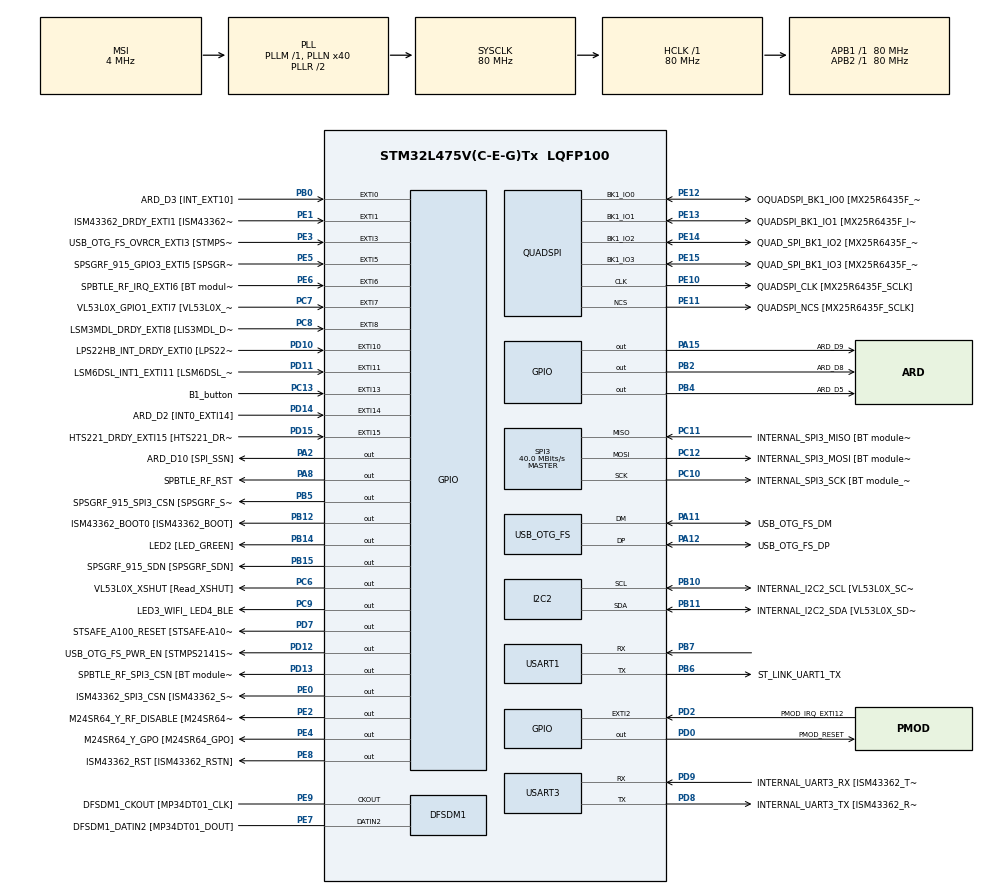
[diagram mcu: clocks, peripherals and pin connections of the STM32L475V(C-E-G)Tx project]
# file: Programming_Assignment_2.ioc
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FREERTOS.BinarySemaphores01=binSem,Dynamic,NULL
FREERTOS.Tasks01=pressureTask,0,128,StartPressureTask,Default,NULL,Dynamic,NULL,NULL;tempTask,0,128,StartTempTask,Default,NULL,Dynamic,NULL,NULL;buttonTask,1,128,StartButtonTask,Default,NULL,Dynamic,NULL,NULL
FREERTOS.configUSE_NEWLIB_REENTRANT=1
I2C2.Timing=0x10909CEC
Mcu.Family=STM32L4
Mcu.Name=STM32L475V(C-E-G)Tx
Mcu.Package=LQFP100
NVIC.EXTI15_10_IRQn=true\:5\:0\:false\:false\:true\:true\:true\:true\:true
NVIC.EXTI9_5_IRQn=true\:5\:0\:false\:false\:true\:true\:true\:true\:true
NVIC.PriorityGroup=NVIC_PRIORITYGROUP_4
NVIC.TIM1_UP_TIM16_IRQn=true\:15\:0\:false\:false\:true\:false\:false\:true\:true
NVIC.TimeBase=TIM1_UP_TIM16_IRQn
NVIC.TimeBaseIP=TIM1
PA0.GPIO_Label=ARD_D1 [UART4_TX]
PA0.Signal=UART4_TX
PA1.GPIO_Label=ARD_D0 [UART4_RX]
PA1.Signal=UART4_RX
PA10.GPIO_Label=USB_OTG_FS_ID
PA10.Signal=USB_OTG_FS_ID
PA11.GPIO_Label=USB_OTG_FS_DM
PA11.Mode=Device_Only
PA11.Signal=USB_OTG_FS_DM
PA12.GPIO_Label=USB_OTG_FS_DP
PA12.Mode=Device_Only
PA12.Signal=USB_OTG_FS_DP
PA13\ (JTMS-SWDIO).GPIO_Label=SYS_JTMS_SWDIO
PA13\ (JTMS-SWDIO).Mode=Serial_Wire
PA13\ (JTMS-SWDIO).Signal=SYS_JTMS-SWDIO
PA14\ (JTCK-SWCLK).GPIO_Label=SYS_JTCK_SWCLK
PA14\ (JTCK-SWCLK).Mode=Serial_Wire
PA14\ (JTCK-SWCLK).Signal=SYS_JTCK-SWCLK
PA15\ (JTDI).GPIO_Label=ARD_D9
PA15\ (JTDI).Signal=GPIO_Output
PA2.GPIO_Label=ARD_D10 [SPI_SSN]
PA2.Signal=GPIO_Output
PA3.GPIO_Label=ARD_D4
PA3.Signal=S_TIM2_CH4
PA4.GPIO_Label=ARD_D7
PA4.Signal=ADCx_IN9
PA5.GPIO_Label=ARD_D13 [SPI1_SCK]
PA5.Signal=SPI1_SCK
PA6.GPIO_Label=ARD_D12 [SPI1_MISO]
PA6.Signal=SPI1_MISO
PA7.GPIO_Label=ARD_D11 [SPI1_MOSI]
PA7.Signal=SPI1_MOSI
PA8.GPIO_Label=SPBTLE_RF_RST
PA8.Signal=GPIO_Output
PA9.GPIO_Label=USB_OTG_FS_VBUS [STMPS2141STR_OUT]
PA9.Signal=USB_OTG_FS_VBUS
PB0.GPIO_Label=ARD_D3 [INT_EXT10]
PB0.Signal=GPXTI0
PB1.GPIO_Label=ARD_D6 [ADC1_IN6]
PB1.Signal=ADCx_IN16
PB10.GPIO_Label=INTERNAL_I2C2_SCL [VL53L0X_SCL]
PB10.GPIO_Pu=GPIO_PULLUP
PB10.Mode=I2C
PB10.Signal=I2C2_SCL
PB11.GPIO_Label=INTERNAL_I2C2_SDA [VL53L0X_SDA]
PB11.GPIO_Pu=GPIO_PULLUP
PB11.Mode=I2C
PB11.Signal=I2C2_SDA
PB12.GPIO_Label=ISM43362_BOOT0 [ISM43362_BOOT]
PB12.Signal=GPIO_Output
PB14.GPIO_Label=LED2 [LED_GREEN]
PB14.Signal=GPIO_Output
PB15.GPIO_Label=SPSGRF_915_SDN [SPSGRF_SDN]
PB15.Signal=GPIO_Output
PB2.GPIO_Label=ARD_D8
PB2.Signal=GPIO_Output
PB3\ (JTDO-TRACESWO).GPIO_Label=SYS_JTD0_SWO
PB3\ (JTDO-TRACESWO).Signal=SYS_JTDO-SWO
PB4\ (NJTRST).GPIO_Label=ARD_D5
PB4\ (NJTRST).Signal=GPIO_Output
PB5.GPIO_Label=SPSGRF_915_SPI3_CSN [SPSGRF_SPI_CS]
PB5.PinState=GPIO_PIN_SET
PB5.Signal=GPIO_Output
PB6.GPIO_Label=ST_LINK_UART1_TX
PB6.Mode=Asynchronous
PB6.Signal=USART1_TX
PB7.Mode=Asynchronous
PB7.Signal=USART1_RX
PB8.GPIO_Label=ARD_D15 [I2C1_SCL]
PB8.Signal=I2C1_SCL
PB9.GPIO_Label=ARD_D14 [I2C1_SDA]
PB9.Signal=I2C1_SDA
PC0.GPIO_Label=ARD_A5 [ADC]
PC0.Signal=ADCx_IN1
PC1.GPIO_Label=ARD_A4 [ADC]
PC1.Signal=ADCx_IN2
PC10.GPIO_Label=INTERNAL_SPI3_SCK [BT module_SPI_SCLK] [ISM43362_SCK]
PC10.Mode=Full_Duplex_Master
PC10.Signal=SPI3_SCK
PC11.GPIO_Label=INTERNAL_SPI3_MISO [BT module_SPI_MISO] [ISM43362_MISO]
PC11.Mode=Full_Duplex_Master
PC11.Signal=SPI3_MISO
PC12.GPIO_Label=INTERNAL_SPI3_MOSI [BT module_SPI_MOSI] [ISM43362_MOSI]
PC12.Mode=Full_Duplex_Master
PC12.Signal=SPI3_MOSI
PC13.GPIO_Label=B1_button
PC13.Signal=GPXTI13
PC14-OSC32_IN\ (PC14).Mode=LSE-External-Oscillator
PC14-OSC32_IN\ (PC14).Signal=RCC_OSC32_IN
PC15-OSC32_OUT\ (PC15).Mode=LSE-External-Oscillator
PC15-OSC32_OUT\ (PC15).Signal=RCC_OSC32_OUT
PC2.GPIO_Label=ARD_A3 [ADC]
PC2.Signal=ADCx_IN3
PC3.GPIO_Label=ARD_A2 [ADC]
PC3.Signal=ADCx_IN4
PC4.GPIO_Label=ARD_A1 [ADC]
PC4.Signal=ADCx_IN13
PC5.GPIO_Label=ARD_A0 [ADC]
PC5.Signal=ADCx_IN14
PC6.GPIO_Label=VL53L0X_XSHUT [Read_XSHUT]
PC6.Signal=GPIO_Output
PC7.GPIO_Label=VL53L0X_GPIO1_EXTI7 [VL53L0X_GPIO1]
PC7.Signal=GPXTI7
PC8.GPIO_Label=LSM3MDL_DRDY_EXTI8 [LIS3MDL_DRDY]
PC8.Signal=GPXTI8
PC9.GPIO_Label=LED3_WIFI_ LED4_BLE
PC9.Signal=GPIO_Output
PD0.GPIO_Label=PMOD_RESET
PD0.Signal=GPIO_Output
PD1.GPIO_Label=PMOD_SPI2_SCK
PD1.Signal=SPI2_SCK
PD10.GPIO_Label=LPS22HB_INT_DRDY_EXTI0 [LPS22HB_INT_DRDY] 
PD10.Signal=GPXTI10
PD11.GPIO_Label=LSM6DSL_INT1_EXTI11 [LSM6DSL_INT1]
PD11.Signal=GPXTI11
PD12.GPIO_Label=USB_OTG_FS_PWR_EN [STMPS2141STR_EN]
PD12.Signal=GPIO_Output
PD13.GPIO_Label=SPBTLE_RF_SPI3_CSN [BT module_SPI_CS]
PD13.PinState=GPIO_PIN_SET
PD13.Signal=GPIO_Output
PD14.GPIO_Label=ARD_D2 [INT0_EXTI14]
PD14.Signal=GPXTI14
PD15.GPIO_Label=HTS221_DRDY_EXTI15 [HTS221_DRDY]
PD15.Signal=GPXTI15
PD2.GPIO_Label=PMOD_IRQ_EXTI12
PD2.Signal=GPXTI2
PD3.GPIO_Label=PMOD_UART2_CTS
PD3.Signal=USART2_CTS
PD4.GPIO_Label=PMOD_UART2_RTS
PD4.Signal=USART2_RTS
PD5.GPIO_Label=PMOD_UART2_TX
PD5.Signal=USART2_TX
PD6.GPIO_Label=PMOD_UART2_RX
PD6.Signal=USART2_RX
PD7.GPIO_Label=STSAFE_A100_RESET [STSAFE-A100_RESET]
PD7.Signal=GPIO_Output
PD8.GPIO_Label=INTERNAL_UART3_TX [ISM43362_RX]
PD8.Mode=Asynchronous
PD8.Signal=USART3_TX
PD9.GPIO_Label=INTERNAL_UART3_RX [ISM43362_TX]
PD9.Mode=Asynchronous
PD9.Signal=USART3_RX
PE0.GPIO_Label=ISM43362_SPI3_CSN [ISM43362_SSN]
PE0.PinState=GPIO_PIN_SET
PE0.Signal=GPIO_Output
PE1.GPIO_Label=ISM43362_DRDY_EXTI1 [ISM43362_DATARDY]
PE1.Signal=GPXTI1
PE10.GPIO_Label=QUADSPI_CLK [MX25R6435F_SCLK]
PE10.Mode=Single Bank
PE10.Signal=QUADSPI_CLK
PE11.GPIO_Label=QUADSPI_NCS [MX25R6435F_SCLK]
PE11.Mode=Single Bank
PE11.Signal=QUADSPI_NCS
PE12.GPIO_Label=OQUADSPI_BK1_IO0 [MX25R6435F_IO0]
PE12.Mode=Single Bank
PE12.Signal=QUADSPI_BK1_IO0
PE13.GPIO_Label=QUADSPI_BK1_IO1 [MX25R6435F_IO1]
PE13.Mode=Single Bank
PE13.Signal=QUADSPI_BK1_IO1
PE14.GPIO_Label=QUAD_SPI_BK1_IO2 [MX25R6435F_IO2]
PE14.Mode=Single Bank
PE14.Signal=QUADSPI_BK1_IO2
PE15.GPIO_Label=QUAD_SPI_BK1_IO3 [MX25R6435F_IO3]
PE15.Mode=Single Bank
PE15.Signal=QUADSPI_BK1_IO3
PE2.GPIO_Label=M24SR64_Y_RF_DISABLE [M24SR64_RFDIS]
PE2.Signal=GPIO_Output
PE3.GPIO_Label=USB_OTG_FS_OVRCR_EXTI3 [STMPS2141STR_FAULT]
PE3.Signal=GPXTI3
PE4.GPIO_Label=M24SR64_Y_GPO [M24SR64_GPO]
PE4.Signal=GPIO_Output
PE5.GPIO_Label=SPSGRF_915_GPIO3_EXTI5 [SPSGRF_GPIO_3]
PE5.Signal=GPXTI5
PE6.GPIO_Label=SPBTLE_RF_IRQ_EXTI6 [BT module_SPI_IRQ]
PE6.Signal=GPXTI6
PE7.GPIO_Label=DFSDM1_DATIN2 [MP34DT01_DOUT]
PE7.Signal=S_DATAIN2DFSDM1
PE8.GPIO_Label=ISM43362_RST [ISM43362_RSTN]
PE8.Signal=GPIO_Output
PE9.GPIO_Label=DFSDM1_CKOUT [MP34DT01_CLK]
PE9.Signal=S_CKOUTDFSDM1
ProjectManager.HeapSize=0x200
ProjectManager.StackSize=0x400
ProjectManager.TargetToolchain=STM32CubeIDE
QUADSPI.ClockPrescaler=2
QUADSPI.FifoThreshold=4
QUADSPI.FlashSize=23
QUADSPI.SampleShifting=QSPI_SAMPLE_SHIFTING_HALFCYCLE
RCC.ADCFreq_Value=48000000
RCC.AHBFreq_Value=80000000
RCC.APB1Freq_Value=80000000
RCC.APB1TimFreq_Value=80000000
RCC.APB2Freq_Value=80000000
RCC.APB2TimFreq_Value=80000000
RCC.CortexFreq_Value=80000000
RCC.HCLKFreq_Value=80000000
RCC.HSE_VALUE=8000000
RCC.HSI_VALUE=16000000
RCC.MSI_VALUE=4000000
RCC.PLLN=40
RCC.PLLSAI1N=24
RCC.SYSCLKFreq_VALUE=80000000
RCC.SYSCLKSource=RCC_SYSCLKSOURCE_PLLCLK
RCC.USBFreq_Value=48000000
RCC.VCOOutputFreq_Value=160000000
SH.ADCx_IN1.0=ADC1_IN1
SH.ADCx_IN13.0=ADC1_IN13
SH.ADCx_IN14.0=ADC1_IN14
SH.ADCx_IN16.0=ADC1_IN16
SH.ADCx_IN2.0=ADC1_IN2
SH.ADCx_IN3.0=ADC1_IN3
SH.ADCx_IN4.0=ADC1_IN4
SH.ADCx_IN9.0=ADC1_IN9
SH.S_CKOUTDFSDM1.0=DFSDM1_CKOUT,CKOUT
SH.S_CKOUTDFSDM1.1=DFSDM1_CKOUT,PDM_SPI_Input_from_ch12_and_Internal_Clock
SH.S_DATAIN2DFSDM1.0=DFSDM1_DATIN2,PDM_SPI_Input_from_ch12_and_Internal_Clock
SH.S_TIM2_CH4.0=TIM2_CH4
SPI3.CalculateBaudRate=40.0 MBits/s
SPI3.Direction=SPI_DIRECTION_2LINES
SPI3.Mode=SPI_MODE_MASTER
SPI3.VirtualType=VM_MASTER
USART1.VirtualMode-Asynchronous=VM_ASYNC
USART3.VirtualMode-Asynchronous=VM_ASYNC
USB_OTG_FS.VirtualMode=Device_Only
VP_FREERTOS_VS_CMSIS_V1.Mode=CMSIS_V1
VP_SYS_VS_tim1.Mode=TIM1
board=B-L475E-IOT01A2

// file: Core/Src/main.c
/* USER CODE BEGIN Header */
/**
  ******************************************************************************
  * @file           : main.c
  * @brief          : Main program body
  ******************************************************************************
  * @attention
  *
  * Copyright (c) 2023 STMicroelectronics.
  * All rights reserved.
  *
  * This software is licensed under terms that can be found in the LICENSE file
  * in the root directory of this software component.
  * If no LICENSE file comes with this software, it is provided AS-IS.
  *
  ******************************************************************************
  */
/* USER CODE END Header */
#include "main.h"
#include "cmsis_os.h"

/* USER CODE BEGIN Includes */
#include "stm32l475e_iot01.h"
#include "stm32l475e_iot01_tsensor.h"
#include "stm32l475e_iot01_psensor.h"
#include <math.h>
#include <stdio.h>

/* Private includes ----------------------------------------------------------*/
/* USER CODE BEGIN Includes */

/* USER CODE END Includes */

DFSDM_Channel_HandleTypeDef hdfsdm1_channel1;

I2C_HandleTypeDef hi2c2;

QSPI_HandleTypeDef hqspi;

SPI_HandleTypeDef hspi3;

UART_HandleTypeDef huart1;
UART_HandleTypeDef huart3;

PCD_HandleTypeDef hpcd_USB_OTG_FS;

osThreadId pressureTaskHandle;
osThreadId tempTaskHandle;
osThreadId buttonTaskHandle;
osSemaphoreId binSemHandle;
/* USER CODE BEGIN PV */
int hits = 0;
float temp_value = 0;
char str_tmp[100] = "";
uint8_t mag1[] = "****** Temperature values measurement ******\n\n\r";
uint8_t mag2[] = "=====> Initialize Temperature sensor HTS221 \r\n";
uint8_t mag3[] = "=====> Temperature sensor HTS221 initialized \r\n";

float pres_value = 0;
char str_pres[100] = "";
uint8_t mag1_1[] = "****** Pressure values measurement ******\n\n\r";
uint8_t mag2_2[] = "=====> Initialize Pressure sensor lps22hb \r\n";
uint8_t mag3_3[] = "=====> Pressure sensor lps22hb initialized \r\n";

/* USER CODE END PV */

void SystemClock_Config(void);
static void MX_GPIO_Init(void);
static void MX_DFSDM1_Init(void);
static void MX_I2C2_Init(void);
static void MX_QUADSPI_Init(void);
static void MX_SPI3_Init(void);
static void MX_USART1_UART_Init(void);
static void MX_USART3_UART_Init(void);
static void MX_USB_OTG_FS_PCD_Init(void);
void StartPressureTask(void const * argument);
void StartTempTask(void const * argument);
void StartButtonTask(void const * argument);

int main(void)
{

  /* MCU Configuration--------------------------------------------------------*/

  /* Reset of all peripherals, Initializes the Flash interface and the Systick. */
  HAL_Init();

  /* Configure the system clock */
  SystemClock_Config();

  /* Initialize all configured peripherals */
  MX_GPIO_Init();
  MX_DFSDM1_Init();
  MX_I2C2_Init();
  MX_QUADSPI_Init();
  MX_SPI3_Init();
  MX_USART1_UART_Init();
  MX_USART3_UART_Init();
  MX_USB_OTG_FS_PCD_Init();
  /* USER CODE BEGIN 2 */
  HAL_UART_Transmit(&huart1,mag1,sizeof(mag1),1000);
  HAL_UART_Transmit(&huart1,mag2,sizeof(mag2),1000);
  BSP_TSENSOR_Init();
  HAL_UART_Transmit(&huart1,mag3,sizeof(mag3),1000);

  HAL_UART_Transmit(&huart1,mag1_1,sizeof(mag1_1),1000);
  HAL_UART_Transmit(&huart1,mag2_2,sizeof(mag2_2),1000);
  BSP_PSENSOR_Init();
  HAL_UART_Transmit(&huart1,mag3_3,sizeof(mag3_3),1000);
  /* USER CODE END 2 */

  /* Create the semaphores(s) */
  /* definition and creation of binSem */
  osSemaphoreDef(binSem);
  binSemHandle = osSemaphoreCreate(osSemaphore(binSem), 1);

  /* Create the thread(s) */
  /* definition and creation of pressureTask */
  osThreadDef(pressureTask, StartPressureTask, osPriorityNormal, 0, 128);
  pressureTaskHandle = osThreadCreate(osThread(pressureTask), NULL);

  /* definition and creation of tempTask */
  osThreadDef(tempTask, StartTempTask, osPriorityNormal, 0, 128);
  tempTaskHandle = osThreadCreate(osThread(tempTask), NULL);

  /* definition and creation of buttonTask */
  osThreadDef(buttonTask, StartButtonTask, osPriorityAboveNormal, 0, 128);
  buttonTaskHandle = osThreadCreate(osThread(buttonTask), NULL);

  /* Start scheduler */
  osKernelStart();

  /* We should never get here as control is now taken by the scheduler */
  /* Infinite loop */
  while (1)
  {

  }
}

void SystemClock_Config(void)
{
  RCC_OscInitTypeDef RCC_OscInitStruct = {0};
  RCC_ClkInitTypeDef RCC_ClkInitStruct = {0};

  /** Configure the main internal regulator output voltage
  */
  if (HAL_PWREx_ControlVoltageScaling(PWR_REGULATOR_VOLTAGE_SCALE1) != HAL_OK)
  {
    Error_Handler();
  }

  /** Configure LSE Drive Capability
  */
  HAL_PWR_EnableBkUpAccess();
  __HAL_RCC_LSEDRIVE_CONFIG(RCC_LSEDRIVE_LOW);

  /** Initializes the RCC Oscillators according to the specified parameters
  * in the RCC_OscInitTypeDef structure.
  */
  RCC_OscInitStruct.OscillatorType = RCC_OSCILLATORTYPE_LSE|RCC_OSCILLATORTYPE_MSI;
  RCC_OscInitStruct.LSEState = RCC_LSE_ON;
  RCC_OscInitStruct.MSIState = RCC_MSI_ON;
  RCC_OscInitStruct.MSICalibrationValue = 0;
  RCC_OscInitStruct.MSIClockRange = RCC_MSIRANGE_6;
  RCC_OscInitStruct.PLL.PLLState = RCC_PLL_ON;
  RCC_OscInitStruct.PLL.PLLSource = RCC_PLLSOURCE_MSI;
  RCC_OscInitStruct.PLL.PLLM = 1;
  RCC_OscInitStruct.PLL.PLLN = 40;
  RCC_OscInitStruct.PLL.PLLP = RCC_PLLP_DIV7;
  RCC_OscInitStruct.PLL.PLLQ = RCC_PLLQ_DIV2;
  RCC_OscInitStruct.PLL.PLLR = RCC_PLLR_DIV2;
  if (HAL_RCC_OscConfig(&RCC_OscInitStruct) != HAL_OK)
  {
    Error_Handler();
  }

  /** Initializes the CPU, AHB and APB buses clocks
  */
  RCC_ClkInitStruct.ClockType = RCC_CLOCKTYPE_HCLK|RCC_CLOCKTYPE_SYSCLK
                              |RCC_CLOCKTYPE_PCLK1|RCC_CLOCKTYPE_PCLK2;
  RCC_ClkInitStruct.SYSCLKSource = RCC_SYSCLKSOURCE_PLLCLK;
  RCC_ClkInitStruct.AHBCLKDivider = RCC_SYSCLK_DIV1;
  RCC_ClkInitStruct.APB1CLKDivider = RCC_HCLK_DIV1;
  RCC_ClkInitStruct.APB2CLKDivider = RCC_HCLK_DIV1;

  if (HAL_RCC_ClockConfig(&RCC_ClkInitStruct, FLASH_LATENCY_4) != HAL_OK)
  {
    Error_Handler();
  }

  /** Enable MSI Auto calibration
  */
  HAL_RCCEx_EnableMSIPLLMode();
}

static void MX_DFSDM1_Init(void)
{

  hdfsdm1_channel1.Instance = DFSDM1_Channel1;
  hdfsdm1_channel1.Init.OutputClock.Activation = ENABLE;
  hdfsdm1_channel1.Init.OutputClock.Selection = DFSDM_CHANNEL_OUTPUT_CLOCK_SYSTEM;
  hdfsdm1_channel1.Init.OutputClock.Divider = 2;
  hdfsdm1_channel1.Init.Input.Multiplexer = DFSDM_CHANNEL_EXTERNAL_INPUTS;
  hdfsdm1_channel1.Init.Input.DataPacking = DFSDM_CHANNEL_STANDARD_MODE;
  hdfsdm1_channel1.Init.Input.Pins = DFSDM_CHANNEL_FOLLOWING_CHANNEL_PINS;
  hdfsdm1_channel1.Init.SerialInterface.Type = DFSDM_CHANNEL_SPI_RISING;
  hdfsdm1_channel1.Init.SerialInterface.SpiClock = DFSDM_CHANNEL_SPI_CLOCK_INTERNAL;
  hdfsdm1_channel1.Init.Awd.FilterOrder = DFSDM_CHANNEL_FASTSINC_ORDER;
  hdfsdm1_channel1.Init.Awd.Oversampling = 1;
  hdfsdm1_channel1.Init.Offset = 0;
  hdfsdm1_channel1.Init.RightBitShift = 0x00;
  if (HAL_DFSDM_ChannelInit(&hdfsdm1_channel1) != HAL_OK)
  {
    Error_Handler();
  }

}

static void MX_I2C2_Init(void)
{

  hi2c2.Instance = I2C2;
  hi2c2.Init.Timing = 0x10909CEC;
  hi2c2.Init.OwnAddress1 = 0;
  hi2c2.Init.AddressingMode = I2C_ADDRESSINGMODE_7BIT;
  hi2c2.Init.DualAddressMode = I2C_DUALADDRESS_DISABLE;
  hi2c2.Init.OwnAddress2 = 0;
  hi2c2.Init.OwnAddress2Masks = I2C_OA2_NOMASK;
  hi2c2.Init.GeneralCallMode = I2C_GENERALCALL_DISABLE;
  hi2c2.Init.NoStretchMode = I2C_NOSTRETCH_DISABLE;
  if (HAL_I2C_Init(&hi2c2) != HAL_OK)
  {
    Error_Handler();
  }

  /** Configure Analogue filter
  */
  if (HAL_I2CEx_ConfigAnalogFilter(&hi2c2, I2C_ANALOGFILTER_ENABLE) != HAL_OK)
  {
    Error_Handler();
  }

  /** Configure Digital filter
  */
  if (HAL_I2CEx_ConfigDigitalFilter(&hi2c2, 0) != HAL_OK)
  {
    Error_Handler();
  }

}

static void MX_QUADSPI_Init(void)
{

  /* QUADSPI parameter configuration*/
  hqspi.Instance = QUADSPI;
  hqspi.Init.ClockPrescaler = 2;
  hqspi.Init.FifoThreshold = 4;
  hqspi.Init.SampleShifting = QSPI_SAMPLE_SHIFTING_HALFCYCLE;
  hqspi.Init.FlashSize = 23;
  hqspi.Init.ChipSelectHighTime = QSPI_CS_HIGH_TIME_1_CYCLE;
  hqspi.Init.ClockMode = QSPI_CLOCK_MODE_0;
  if (HAL_QSPI_Init(&hqspi) != HAL_OK)
  {
    Error_Handler();
  }

}

static void MX_SPI3_Init(void)
{

  /* SPI3 parameter configuration*/
  hspi3.Instance = SPI3;
  hspi3.Init.Mode = SPI_MODE_MASTER;
  hspi3.Init.Direction = SPI_DIRECTION_2LINES;
  hspi3.Init.DataSize = SPI_DATASIZE_4BIT;
  hspi3.Init.CLKPolarity = SPI_POLARITY_LOW;
  hspi3.Init.CLKPhase = SPI_PHASE_1EDGE;
  hspi3.Init.NSS = SPI_NSS_SOFT;
  hspi3.Init.BaudRatePrescaler = SPI_BAUDRATEPRESCALER_2;
  hspi3.Init.FirstBit = SPI_FIRSTBIT_MSB;
  hspi3.Init.TIMode = SPI_TIMODE_DISABLE;
  hspi3.Init.CRCCalculation = SPI_CRCCALCULATION_DISABLE;
  hspi3.Init.CRCPolynomial = 7;
  hspi3.Init.CRCLength = SPI_CRC_LENGTH_DATASIZE;
  hspi3.Init.NSSPMode = SPI_NSS_PULSE_ENABLE;
  if (HAL_SPI_Init(&hspi3) != HAL_OK)
  {
    Error_Handler();
  }

}

static void MX_USART1_UART_Init(void)
{

  huart1.Instance = USART1;
  huart1.Init.BaudRate = 115200;
  huart1.Init.WordLength = UART_WORDLENGTH_8B;
  huart1.Init.StopBits = UART_STOPBITS_1;
  huart1.Init.Parity = UART_PARITY_NONE;
  huart1.Init.Mode = UART_MODE_TX_RX;
  huart1.Init.HwFlowCtl = UART_HWCONTROL_NONE;
  huart1.Init.OverSampling = UART_OVERSAMPLING_16;
  huart1.Init.OneBitSampling = UART_ONE_BIT_SAMPLE_DISABLE;
  huart1.AdvancedInit.AdvFeatureInit = UART_ADVFEATURE_NO_INIT;
  if (HAL_UART_Init(&huart1) != HAL_OK)
  {
    Error_Handler();
  }

}

static void MX_USART3_UART_Init(void)
{

  huart3.Instance = USART3;
  huart3.Init.BaudRate = 115200;
  huart3.Init.WordLength = UART_WORDLENGTH_8B;
  huart3.Init.StopBits = UART_STOPBITS_1;
  huart3.Init.Parity = UART_PARITY_NONE;
  huart3.Init.Mode = UART_MODE_TX_RX;
  huart3.Init.HwFlowCtl = UART_HWCONTROL_NONE;
  huart3.Init.OverSampling = UART_OVERSAMPLING_16;
  huart3.Init.OneBitSampling = UART_ONE_BIT_SAMPLE_DISABLE;
  huart3.AdvancedInit.AdvFeatureInit = UART_ADVFEATURE_NO_INIT;
  if (HAL_UART_Init(&huart3) != HAL_OK)
  {
    Error_Handler();
  }

}

static void MX_USB_OTG_FS_PCD_Init(void)
{

  hpcd_USB_OTG_FS.Instance = USB_OTG_FS;
  hpcd_USB_OTG_FS.Init.dev_endpoints = 6;
  hpcd_USB_OTG_FS.Init.speed = PCD_SPEED_FULL;
  hpcd_USB_OTG_FS.Init.phy_itface = PCD_PHY_EMBEDDED;
  hpcd_USB_OTG_FS.Init.Sof_enable = DISABLE;
  hpcd_USB_OTG_FS.Init.low_power_enable = DISABLE;
  hpcd_USB_OTG_FS.Init.lpm_enable = DISABLE;
  hpcd_USB_OTG_FS.Init.battery_charging_enable = DISABLE;
  hpcd_USB_OTG_FS.Init.use_dedicated_ep1 = DISABLE;
  hpcd_USB_OTG_FS.Init.vbus_sensing_enable = DISABLE;
  if (HAL_PCD_Init(&hpcd_USB_OTG_FS) != HAL_OK)
  {
    Error_Handler();
  }

}

static void MX_GPIO_Init(void)
{
  GPIO_InitTypeDef GPIO_InitStruct = {0};

  /* GPIO Ports Clock Enable */
  __HAL_RCC_GPIOE_CLK_ENABLE();
  __HAL_RCC_GPIOC_CLK_ENABLE();
  __HAL_RCC_GPIOA_CLK_ENABLE();
  __HAL_RCC_GPIOB_CLK_ENABLE();
  __HAL_RCC_GPIOD_CLK_ENABLE();

  /*Configure GPIO pin Output Level */
  HAL_GPIO_WritePin(GPIOE, M24SR64_Y_RF_DISABLE_Pin|M24SR64_Y_GPO_Pin|ISM43362_RST_Pin, GPIO_PIN_RESET);

  /*Configure GPIO pin Output Level */
  HAL_GPIO_WritePin(GPIOA, ARD_D10_Pin|SPBTLE_RF_RST_Pin|ARD_D9_Pin, GPIO_PIN_RESET);

  /*Configure GPIO pin Output Level */
  HAL_GPIO_WritePin(GPIOB, ARD_D8_Pin|ISM43362_BOOT0_Pin|LED2_Pin|SPSGRF_915_SDN_Pin
                          |ARD_D5_Pin, GPIO_PIN_RESET);

  /*Configure GPIO pin Output Level */
  HAL_GPIO_WritePin(GPIOD, USB_OTG_FS_PWR_EN_Pin|PMOD_RESET_Pin|STSAFE_A100_RESET_Pin, GPIO_PIN_RESET);

  /*Configure GPIO pin Output Level */
  HAL_GPIO_WritePin(SPBTLE_RF_SPI3_CSN_GPIO_Port, SPBTLE_RF_SPI3_CSN_Pin, GPIO_PIN_SET);

  /*Configure GPIO pin Output Level */
  HAL_GPIO_WritePin(GPIOC, VL53L0X_XSHUT_Pin|LED3_WIFI__LED4_BLE_Pin, GPIO_PIN_RESET);

  /*Configure GPIO pin Output Level */
  HAL_GPIO_WritePin(SPSGRF_915_SPI3_CSN_GPIO_Port, SPSGRF_915_SPI3_CSN_Pin, GPIO_PIN_SET);

  /*Configure GPIO pin Output Level */
  HAL_GPIO_WritePin(ISM43362_SPI3_CSN_GPIO_Port, ISM43362_SPI3_CSN_Pin, GPIO_PIN_SET);

  /*Configure GPIO pins : M24SR64_Y_RF_DISABLE_Pin M24SR64_Y_GPO_Pin ISM43362_RST_Pin ISM43362_SPI3_CSN_Pin */
  GPIO_InitStruct.Pin = M24SR64_Y_RF_DISABLE_Pin|M24SR64_Y_GPO_Pin|ISM43362_RST_Pin|ISM43362_SPI3_CSN_Pin;
  GPIO_InitStruct.Mode = GPIO_MODE_OUTPUT_PP;
  GPIO_InitStruct.Pull = GPIO_NOPULL;
  GPIO_InitStruct.Speed = GPIO_SPEED_FREQ_LOW;
  HAL_GPIO_Init(GPIOE, &GPIO_InitStruct);

  /*Configure GPIO pins : USB_OTG_FS_OVRCR_EXTI3_Pin SPSGRF_915_GPIO3_EXTI5_Pin SPBTLE_RF_IRQ_EXTI6_Pin ISM43362_DRDY_EXTI1_Pin */
  GPIO_InitStruct.Pin = USB_OTG_FS_OVRCR_EXTI3_Pin|SPSGRF_915_GPIO3_EXTI5_Pin|SPBTLE_RF_IRQ_EXTI6_Pin|ISM43362_DRDY_EXTI1_Pin;
  GPIO_InitStruct.Mode = GPIO_MODE_IT_RISING;
  GPIO_InitStruct.Pull = GPIO_NOPULL;
  HAL_GPIO_Init(GPIOE, &GPIO_InitStruct);

  /*Configure GPIO pins : B1_button_Pin VL53L0X_GPIO1_EXTI7_Pin LSM3MDL_DRDY_EXTI8_Pin */
  GPIO_InitStruct.Pin = B1_button_Pin|VL53L0X_GPIO1_EXTI7_Pin|LSM3MDL_DRDY_EXTI8_Pin;
  GPIO_InitStruct.Mode = GPIO_MODE_IT_RISING;
  GPIO_InitStruct.Pull = GPIO_NOPULL;
  HAL_GPIO_Init(GPIOC, &GPIO_InitStruct);

  /*Configure GPIO pins : ARD_A5_Pin ARD_A4_Pin ARD_A3_Pin ARD_A2_Pin
                           ARD_A1_Pin ARD_A0_Pin */
  GPIO_InitStruct.Pin = ARD_A5_Pin|ARD_A4_Pin|ARD_A3_Pin|ARD_A2_Pin
                          |ARD_A1_Pin|ARD_A0_Pin;
  GPIO_InitStruct.Mode = GPIO_MODE_ANALOG_ADC_CONTROL;
  GPIO_InitStruct.Pull = GPIO_NOPULL;
  HAL_GPIO_Init(GPIOC, &GPIO_InitStruct);

  /*Configure GPIO pins : ARD_D1_Pin ARD_D0_Pin */
  GPIO_InitStruct.Pin = ARD_D1_Pin|ARD_D0_Pin;
  GPIO_InitStruct.Mode = GPIO_MODE_AF_PP;
  GPIO_InitStruct.Pull = GPIO_NOPULL;
  GPIO_InitStruct.Speed = GPIO_SPEED_FREQ_VERY_HIGH;
  GPIO_InitStruct.Alternate = GPIO_AF8_UART4;
  HAL_GPIO_Init(GPIOA, &GPIO_InitStruct);

  /*Configure GPIO pins : ARD_D10_Pin SPBTLE_RF_RST_Pin ARD_D9_Pin */
  GPIO_InitStruct.Pin = ARD_D10_Pin|SPBTLE_RF_RST_Pin|ARD_D9_Pin;
  GPIO_InitStruct.Mode = GPIO_MODE_OUTPUT_PP;
  GPIO_InitStruct.Pull = GPIO_NOPULL;
  GPIO_InitStruct.Speed = GPIO_SPEED_FREQ_LOW;
  HAL_GPIO_Init(GPIOA, &GPIO_InitStruct);

  /*Configure GPIO pin : ARD_D4_Pin */
  GPIO_InitStruct.Pin = ARD_D4_Pin;
  GPIO_InitStruct.Mode = GPIO_MODE_AF_PP;
  GPIO_InitStruct.Pull = GPIO_NOPULL;
  GPIO_InitStruct.Speed = GPIO_SPEED_FREQ_LOW;
  GPIO_InitStruct.Alternate = GPIO_AF1_TIM2;
  HAL_GPIO_Init(ARD_D4_GPIO_Port, &GPIO_InitStruct);

  /*Configure GPIO pin : ARD_D7_Pin */
  GPIO_InitStruct.Pin = ARD_D7_Pin;
  GPIO_InitStruct.Mode = GPIO_MODE_ANALOG_ADC_CONTROL;
  GPIO_InitStruct.Pull = GPIO_NOPULL;
  HAL_GPIO_Init(ARD_D7_GPIO_Port, &GPIO_InitStruct);

  /*Configure GPIO pins : ARD_D13_Pin ARD_D12_Pin ARD_D11_Pin */
  GPIO_InitStruct.Pin = ARD_D13_Pin|ARD_D12_Pin|ARD_D11_Pin;
  GPIO_InitStruct.Mode = GPIO_MODE_AF_PP;
  GPIO_InitStruct.Pull = GPIO_NOPULL;
  GPIO_InitStruct.Speed = GPIO_SPEED_FREQ_VERY_HIGH;
  GPIO_InitStruct.Alternate = GPIO_AF5_SPI1;
  HAL_GPIO_Init(GPIOA, &GPIO_InitStruct);

  /*Configure GPIO pin : ARD_D3_Pin */
  GPIO_InitStruct.Pin = ARD_D3_Pin;
  GPIO_InitStruct.Mode = GPIO_MODE_IT_RISING;
  GPIO_InitStruct.Pull = GPIO_NOPULL;
  HAL_GPIO_Init(ARD_D3_GPIO_Port, &GPIO_InitStruct);

  /*Configure GPIO pin : ARD_D6_Pin */
  GPIO_InitStruct.Pin = ARD_D6_Pin;
  GPIO_InitStruct.Mode = GPIO_MODE_ANALOG_ADC_CONTROL;
  GPIO_InitStruct.Pull = GPIO_NOPULL;
  HAL_GPIO_Init(ARD_D6_GPIO_Port, &GPIO_InitStruct);

  /*Configure GPIO pins : ARD_D8_Pin ISM43362_BOOT0_Pin LED2_Pin SPSGRF_915_SDN_Pin
                           ARD_D5_Pin SPSGRF_915_SPI3_CSN_Pin */
  GPIO_InitStruct.Pin = ARD_D8_Pin|ISM43362_BOOT0_Pin|LED2_Pin|SPSGRF_915_SDN_Pin
                          |ARD_D5_Pin|SPSGRF_915_SPI3_CSN_Pin;
  GPIO_InitStruct.Mode = GPIO_MODE_OUTPUT_PP;
  GPIO_InitStruct.Pull = GPIO_NOPULL;
  GPIO_InitStruct.Speed = GPIO_SPEED_FREQ_LOW;
  HAL_GPIO_Init(GPIOB, &GPIO_InitStruct);

  /*Configure GPIO pins : LPS22HB_INT_DRDY_EXTI0_Pin LSM6DSL_INT1_EXTI11_Pin ARD_D2_Pin HTS221_DRDY_EXTI15_Pin
                           PMOD_IRQ_EXTI12_Pin */
  GPIO_InitStruct.Pin = LPS22HB_INT_DRDY_EXTI0_Pin|LSM6DSL_INT1_EXTI11_Pin|ARD_D2_Pin|HTS221_DRDY_EXTI15_Pin
                          |PMOD_IRQ_EXTI12_Pin;
  GPIO_InitStruct.Mode = GPIO_MODE_IT_RISING;
  GPIO_InitStruct.Pull = GPIO_NOPULL;
  HAL_GPIO_Init(GPIOD, &GPIO_InitStruct);

  /*Configure GPIO pins : USB_OTG_FS_PWR_EN_Pin SPBTLE_RF_SPI3_CSN_Pin PMOD_RESET_Pin STSAFE_A100_RESET_Pin */
  GPIO_InitStruct.Pin = USB_OTG_FS_PWR_EN_Pin|SPBTLE_RF_SPI3_CSN_Pin|PMOD_RESET_Pin|STSAFE_A100_RESET_Pin;
  GPIO_InitStruct.Mode = GPIO_MODE_OUTPUT_PP;
  GPIO_InitStruct.Pull = GPIO_NOPULL;
  GPIO_InitStruct.Speed = GPIO_SPEED_FREQ_LOW;
  HAL_GPIO_Init(GPIOD, &GPIO_InitStruct);

  /*Configure GPIO pins : VL53L0X_XSHUT_Pin LED3_WIFI__LED4_BLE_Pin */
  GPIO_InitStruct.Pin = VL53L0X_XSHUT_Pin|LED3_WIFI__LED4_BLE_Pin;
  GPIO_InitStruct.Mode = GPIO_MODE_OUTPUT_PP;
  GPIO_InitStruct.Pull = GPIO_NOPULL;
  GPIO_InitStruct.Speed = GPIO_SPEED_FREQ_LOW;
  HAL_GPIO_Init(GPIOC, &GPIO_InitStruct);

  /*Configure GPIO pin : PMOD_SPI2_SCK_Pin */
  GPIO_InitStruct.Pin = PMOD_SPI2_SCK_Pin;
  GPIO_InitStruct.Mode = GPIO_MODE_AF_PP;
  GPIO_InitStruct.Pull = GPIO_NOPULL;
  GPIO_InitStruct.Speed = GPIO_SPEED_FREQ_VERY_HIGH;
  GPIO_InitStruct.Alternate = GPIO_AF5_SPI2;
  HAL_GPIO_Init(PMOD_SPI2_SCK_GPIO_Port, &GPIO_InitStruct);

  /*Configure GPIO pins : PMOD_UART2_CTS_Pin PMOD_UART2_RTS_Pin PMOD_UART2_TX_Pin PMOD_UART2_RX_Pin */
  GPIO_InitStruct.Pin = PMOD_UART2_CTS_Pin|PMOD_UART2_RTS_Pin|PMOD_UART2_TX_Pin|PMOD_UART2_RX_Pin;
  GPIO_InitStruct.Mode = GPIO_MODE_AF_PP;
  GPIO_InitStruct.Pull = GPIO_NOPULL;
  GPIO_InitStruct.Speed = GPIO_SPEED_FREQ_VERY_HIGH;
  GPIO_InitStruct.Alternate = GPIO_AF7_USART2;
  HAL_GPIO_Init(GPIOD, &GPIO_InitStruct);

  /*Configure GPIO pins : ARD_D15_Pin ARD_D14_Pin */
  GPIO_InitStruct.Pin = ARD_D15_Pin|ARD_D14_Pin;
  GPIO_InitStruct.Mode = GPIO_MODE_AF_OD;
  GPIO_InitStruct.Pull = GPIO_NOPULL;
  GPIO_InitStruct.Speed = GPIO_SPEED_FREQ_VERY_HIGH;
  GPIO_InitStruct.Alternate = GPIO_AF4_I2C1;
  HAL_GPIO_Init(GPIOB, &GPIO_InitStruct);

  /* EXTI interrupt init*/
  HAL_NVIC_SetPriority(EXTI9_5_IRQn, 5, 0);
  HAL_NVIC_EnableIRQ(EXTI9_5_IRQn);

  HAL_NVIC_SetPriority(EXTI15_10_IRQn, 5, 0);
  HAL_NVIC_EnableIRQ(EXTI15_10_IRQn);

}

void StartTempTask(void const * argument)
{
  /* USER CODE BEGIN 5 */
  /* Infinite loop */
  for(;;)
  {
	  //osSemaphoreWait(presSemHandle, osWaitForever);

	  //uint8_t Test[] = "Acquired Semaphore in Pressure Task !!!\r\n"; // Data to send
	  //HAL_UART_Transmit(&huart1, Test, sizeof(Test), 10); // Sending in normal mode
	  //osDelay(1);
	  if (hits % 2 == 1)
	  {
		  temp_value = BSP_TSENSOR_ReadTemp();
		  int tmpInt1 = temp_value;
		  float tmpFrac = temp_value - tmpInt1;
		  int tmpInt2 = trunc(tmpFrac * 100);

		  osSemaphoreWait(binSemHandle, osWaitForever);
		  //uint8_t Test[] = "Acquired Semaphore in Temp Task !!!\r\n"; // Data to send
		  //HAL_UART_Transmit(&huart1, Test, sizeof(Test), 10); // Sending in normal mode
		  snprintf(str_tmp,100,"TEMPERATURE = %d.%02d\n\r", tmpInt1, tmpInt2);
		  HAL_UART_Transmit(&huart1,( uint8_t * )str_tmp, sizeof(str_tmp),1000);

		  //HAL_Delay(1000);
		  osSemaphoreRelease(binSemHandle);
		  osDelay(1000);
	  }

    //osDelay(1);
  }
  /* USER CODE END 5 */
}

void StartPressureTask(void const * argument)
{
  /* USER CODE BEGIN StartTempTask */
  /* Infinite loop */
  for(;;)
  {
	  //osSemaphoreWait(tempSemHandle, osWaitForever);
	  //osDelay(1);
	  if (hits % 2 == 1)
	  {
		  pres_value = BSP_PSENSOR_ReadPressure();
		  int presInt1_1 = pres_value;
		  float presFrac = pres_value - presInt1_1;
		  int presInt2_2 = trunc(presFrac * 100);

		  osSemaphoreWait(binSemHandle, osWaitForever);
		  //uint8_t msg[] = "Acquired Semaphore in Pressure Task !!!\r\n"; // Data to send
		  //HAL_UART_Transmit(&huart1, msg, sizeof(msg), 10); // Sending in normal mode
		  snprintf(str_pres,100,"Pressure = %d.%02d\n\r", presInt1_1, presInt2_2);
		  HAL_UART_Transmit(&huart1,( uint8_t * )str_pres, sizeof(str_pres),1000);
		  osSemaphoreRelease(binSemHandle);
		  osDelay(2000);
	  }

      //osDelay(1);
  }
  /* USER CODE END StartTempTask */
}

void StartButtonTask(void const * argument)
{
  /* USER CODE BEGIN StartButtonTask */
  /* Infinite loop */
  for(;;)
  {
	//osSemaphoreWait(tempSemHandle, osWaitForever);
	//osSemaphoreWait(presSemHandle, osWaitForever);
	//uint8_t msg[] = "Acquired Semaphores in Button Task !!!\r\n"; // Data to send
	//HAL_UART_Transmit(&huart1, msg, sizeof(msg), 10); // Sending in normal mode
	//HAL_Delay(1000);
	osDelay(100);
	if (HAL_GPIO_ReadPin(B1_button_GPIO_Port, B1_button_Pin) == 0)
	{
		hits = hits + 1;
		//uint8_t msg2[] = "Adding to hits !!!\r\n"; // Data to send
		//HAL_UART_Transmit(&huart1, msg2, sizeof(msg2), 10); // Sending in normal mode
		//HAL_Delay(1000);
	}
	//uint8_t msg2[] = "Releasing Semaphores in Button Task !!!\r\n"; // Data to send
	//HAL_UART_Transmit(&huart1, msg2, sizeof(msg2), 10); // Sending in normal mode
    //osSemaphoreRelease(presSemHandle);
    //osSemaphoreRelease(tempSemHandle);
  }
  /* USER CODE END StartButtonTask */
}

void HAL_TIM_PeriodElapsedCallback(TIM_HandleTypeDef *htim)
{
  if (htim->Instance == TIM1) {
    HAL_IncTick();
  }
}

void Error_Handler(void)
{
  __disable_irq();
  while (1)
  {
  }
}
